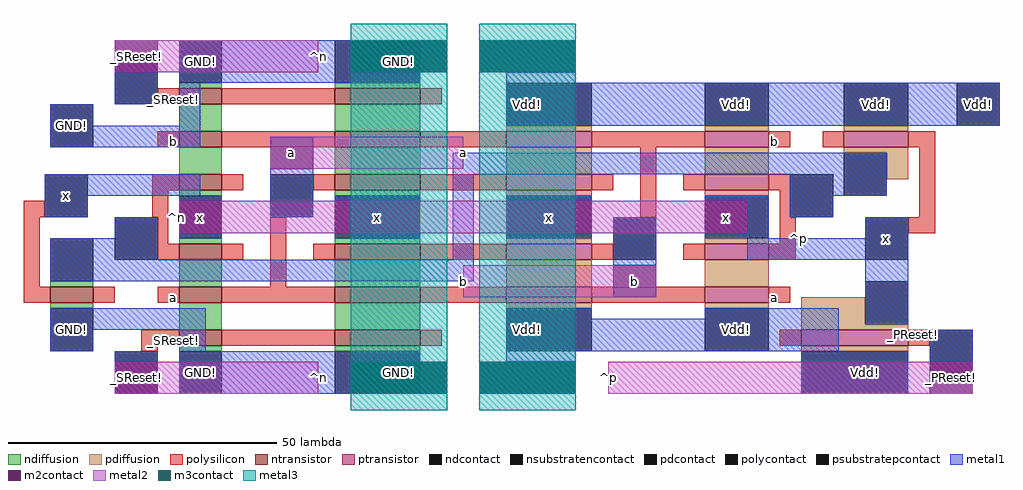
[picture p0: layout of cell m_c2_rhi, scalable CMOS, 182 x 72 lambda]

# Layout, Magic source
magic
tech scmos
<< ndiffusion >>
rect -53 75 -45 76
rect -24 75 -8 76
rect -53 67 -45 72
rect -24 67 -8 72
rect -53 59 -45 64
rect -24 59 -8 64
rect -53 55 -45 56
rect -53 46 -45 47
rect -24 55 -8 56
rect -77 38 -69 39
rect -53 38 -45 43
rect -24 46 -8 47
rect -24 38 -8 43
rect -77 34 -69 35
rect -53 30 -45 35
rect -24 30 -8 35
rect -53 26 -45 27
rect -24 26 -8 27
<< pdiffusion >>
rect 8 67 24 68
rect 45 67 57 68
rect 71 67 83 68
rect 8 59 24 64
rect 8 55 24 56
rect 45 59 57 64
rect 71 63 83 64
rect 8 46 24 47
rect 45 55 57 56
rect 45 46 57 47
rect 79 58 83 63
rect 8 38 24 43
rect 45 38 57 43
rect 8 34 24 35
rect 45 34 57 35
rect 63 31 75 36
rect 63 30 83 31
rect 63 26 83 27
<< ntransistor >>
rect -53 72 -45 75
rect -24 72 -8 75
rect -53 64 -45 67
rect -24 64 -8 67
rect -53 56 -45 59
rect -24 56 -8 59
rect -53 43 -45 46
rect -24 43 -8 46
rect -77 35 -69 38
rect -53 35 -45 38
rect -24 35 -8 38
rect -53 27 -45 30
rect -24 27 -8 30
<< ptransistor >>
rect 8 64 24 67
rect 45 64 57 67
rect 71 64 83 67
rect 8 56 24 59
rect 45 56 57 59
rect 8 43 24 46
rect 45 43 57 46
rect 8 35 24 38
rect 45 35 57 38
rect 63 27 83 30
<< polysilicon >>
rect -57 72 -53 75
rect -45 72 -24 75
rect -8 72 -4 75
rect -57 64 -53 67
rect -45 64 -24 67
rect -8 64 8 67
rect 24 64 45 67
rect 57 64 61 67
rect 67 64 71 67
rect 83 64 88 67
rect -82 51 -78 54
rect -58 56 -53 59
rect -45 56 -41 59
rect -58 51 -55 56
rect -82 38 -79 51
rect -57 46 -55 51
rect -28 56 -24 59
rect -8 56 8 59
rect 24 56 28 59
rect -57 43 -53 46
rect -45 43 -41 46
rect -36 38 -33 51
rect 33 51 36 64
rect 41 56 45 59
rect 57 56 61 59
rect -28 43 -24 46
rect -8 43 8 46
rect 24 43 28 46
rect 59 51 61 56
rect 85 51 88 64
rect 59 46 62 51
rect 41 43 45 46
rect 57 43 62 46
rect 83 48 88 51
rect -82 35 -77 38
rect -69 35 -65 38
rect -57 35 -53 38
rect -45 35 -24 38
rect -8 35 8 38
rect 24 35 45 38
rect 57 35 61 38
rect -60 27 -53 30
rect -45 27 -24 30
rect -8 27 -4 30
rect -60 26 -57 27
rect 59 27 63 30
rect 83 27 87 30
<< ndcontact >>
rect -53 76 -45 84
rect -24 76 -8 84
rect -77 39 -69 47
rect -53 47 -45 55
rect -24 47 -8 55
rect -77 26 -69 34
rect -53 18 -45 26
rect -24 18 -8 26
<< pdcontact >>
rect 8 68 24 76
rect 45 68 57 76
rect 71 68 83 76
rect 8 47 24 55
rect 45 47 57 55
rect 71 55 79 63
rect 8 26 24 34
rect 45 26 57 34
rect 75 31 83 39
rect 63 18 83 26
<< psubstratepcontact >>
rect -77 64 -69 72
<< nsubstratencontact >>
rect 92 68 100 76
<< polycontact >>
rect -65 72 -57 80
rect -78 51 -70 59
rect -65 43 -57 51
rect -36 51 -28 59
rect 28 43 36 51
rect 61 51 69 59
rect 75 43 83 51
rect -65 18 -57 26
rect 87 22 95 30
<< metal1 >>
rect -65 72 -57 78
rect -53 78 -21 84
rect -53 76 -8 78
rect 8 76 21 78
rect -77 68 -69 72
rect -53 68 -49 76
rect 8 68 100 76
rect -77 64 -49 68
rect -78 55 -49 59
rect -78 51 -70 55
rect -53 54 -45 55
rect -65 47 -57 51
rect -36 51 -28 60
rect -2 59 79 63
rect -24 54 -8 55
rect -53 47 -45 48
rect -24 47 -8 48
rect -77 43 -57 47
rect -2 43 2 59
rect 61 55 79 59
rect 8 54 24 55
rect 45 54 57 55
rect 8 47 24 48
rect -77 39 2 43
rect 28 42 36 51
rect 53 48 57 54
rect 61 51 69 55
rect 45 47 57 48
rect 75 47 83 51
rect 53 43 83 47
rect -77 30 -48 34
rect -77 26 -69 30
rect -53 26 -48 30
rect 8 32 24 34
rect 45 32 70 34
rect 8 26 70 32
rect 75 31 83 43
rect -65 24 -57 26
rect -53 24 -8 26
rect 8 24 21 26
rect -53 18 -21 24
rect 63 18 83 26
rect 87 24 95 30
<< m2contact >>
rect -65 78 -57 84
rect -21 78 -3 84
rect 3 78 21 84
rect -36 60 -28 66
rect -53 48 -45 54
rect -24 48 -8 54
rect 8 48 24 54
rect 45 48 53 54
rect 28 36 36 42
rect -65 18 -57 24
rect -21 18 -3 24
rect 3 18 21 24
rect 87 18 95 24
<< metal2 >>
rect -65 78 -27 84
rect -36 60 0 66
rect -53 48 53 54
rect 0 36 36 42
rect -65 18 -27 24
rect 27 18 95 24
<< m3contact >>
rect -21 78 -3 84
rect 3 78 21 84
rect -21 18 -3 24
rect 3 18 21 24
<< metal3 >>
rect -21 15 -3 87
rect 3 15 21 87
<< labels >>
rlabel metal1 12 72 12 72 5 Vdd!
rlabel metal1 12 30 12 30 1 Vdd!
rlabel m2contact -12 80 -12 80 5 GND!
rlabel m2contact -12 22 -12 22 1 GND!
rlabel metal1 -49 80 -49 80 5 GND!
rlabel polysilicon -54 73 -54 73 1 _SReset!
rlabel metal1 -49 22 -49 22 1 GND!
rlabel polysilicon -54 28 -54 28 1 _SReset!
rlabel metal1 51 72 51 72 5 Vdd!
rlabel metal1 51 30 51 30 1 Vdd!
rlabel polysilicon -54 65 -54 65 3 b
rlabel polysilicon -54 36 -54 36 3 a
rlabel metal1 77 72 77 72 5 Vdd!
rlabel metal1 75 22 75 22 5 Vdd!
rlabel polysilicon 84 29 84 29 7 _PReset!
rlabel metal1 79 47 79 47 5 x
rlabel polysilicon 58 65 58 65 7 b
rlabel polysilicon 58 36 58 36 7 a
rlabel metal2 0 36 0 42 3 b
rlabel metal2 0 60 0 66 7 a
rlabel metal2 91 21 91 21 7 _PReset!
rlabel metal2 -61 81 -61 81 1 _SReset!
rlabel metal1 96 72 96 72 7 Vdd!
rlabel metal1 -73 30 -73 30 1 GND!
rlabel metal2 -61 21 -61 21 1 _SReset!
rlabel metal1 -73 68 -73 68 1 GND!
rlabel metal1 -74 55 -74 55 3 x
rlabel space -83 17 -24 85 7 ^n
rlabel space 24 17 101 77 3 ^p
rlabel metal2 27 18 27 24 7 ^p
rlabel metal2 -27 18 -27 24 3 ^n
rlabel metal2 -27 78 -27 84 3 ^n
rlabel metal2 -32 63 -32 63 1 a
rlabel metal2 49 51 49 51 1 x
rlabel metal2 16 51 16 51 1 x
rlabel metal2 -16 51 -16 51 1 x
rlabel metal2 -49 51 -49 51 1 x
rlabel metal2 32 39 32 39 1 b
<< end >>
